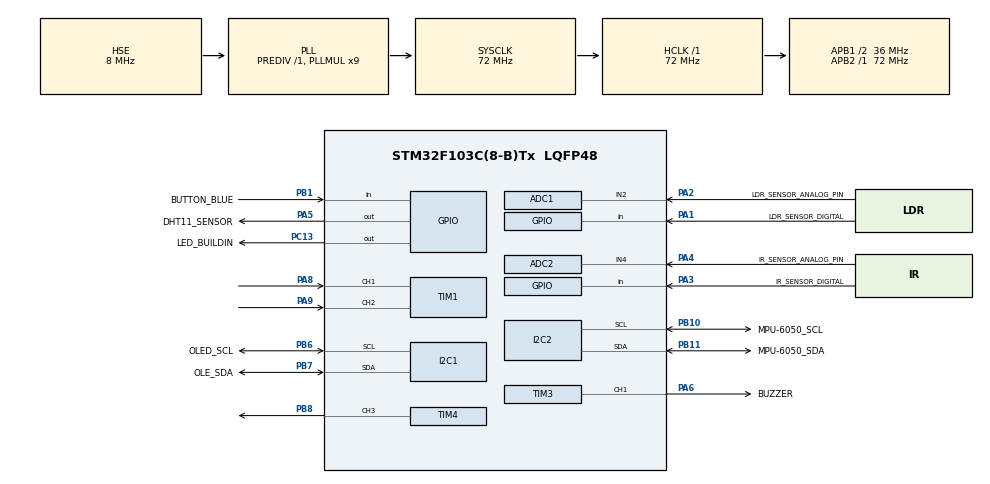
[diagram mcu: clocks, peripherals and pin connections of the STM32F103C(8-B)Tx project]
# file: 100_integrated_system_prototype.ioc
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ADC1.Channel-5\#ChannelRegularConversion=ADC_CHANNEL_2
ADC1.NbrOfConversionFlag=1
ADC1.Rank-5\#ChannelRegularConversion=1
ADC1.SamplingTime-5\#ChannelRegularConversion=ADC_SAMPLETIME_1CYCLE_5
ADC1.master=1
ADC2.Channel-0\#ChannelRegularConversion=ADC_CHANNEL_4
ADC2.NbrOfConversionFlag=1
ADC2.Rank-0\#ChannelRegularConversion=1
ADC2.SamplingTime-0\#ChannelRegularConversion=ADC_SAMPLETIME_1CYCLE_5
FREERTOS.INCLUDE_vTaskDelayUntil=1
FREERTOS.Queues01=sensorQueue,32,uint32_t,0,Dynamic,NULL,NULL
FREERTOS.Tasks01=signalTask,0,128,StartSignalTask,Default,NULL,Dynamic,NULL,NULL;displayTask,0,256,StartDisplayTask,Default,NULL,Dynamic,NULL,NULL;hardwareTask,0,128,StartHardwareTask,Default,NULL,Dynamic,NULL,NULL
FREERTOS.configMAX_PRIORITIES=16
FREERTOS.configUSE_COUNTING_SEMAPHORES=0
FREERTOS.configUSE_MALLOC_FAILED_HOOK=1
I2C1.I2C_Mode=I2C_Fast
I2C1.NoStretchMode=I2C_NOSTRETCH_ENABLE
I2C2.I2C_Mode=I2C_Fast
Mcu.Family=STM32F1
Mcu.Name=STM32F103C(8-B)Tx
Mcu.Package=LQFP48
NVIC.PriorityGroup=NVIC_PRIORITYGROUP_4
NVIC.TIM2_IRQn=true\:15\:0\:false\:false\:true\:false\:true\:true\:true
NVIC.TimeBase=TIM2_IRQn
NVIC.TimeBaseIP=TIM2
PA1.GPIO_Label=LDR_SENSOR_DIGITAL
PA1.Signal=GPIO_Input
PA13.Mode=Serial_Wire
PA13.Signal=SYS_JTMS-SWDIO
PA14.Mode=Serial_Wire
PA14.Signal=SYS_JTCK-SWCLK
PA2.GPIO_Label=LDR_SENSOR_ANALOG_PIN
PA2.Signal=ADCx_IN2
PA3.GPIO_Label=IR_SENSOR_DIGITAL
PA3.Signal=GPIO_Input
PA4.GPIO_Label=IR_SENSOR_ANALOG_PIN
PA4.Signal=ADCx_IN4
PA5.GPIO_Label=DHT11_SENSOR
PA5.GPIO_PuPd=GPIO_PULLDOWN
PA5.Signal=GPIO_Output
PA6.GPIO_Label=BUZZER
PA6.Signal=S_TIM3_CH1
PA8.Signal=S_TIM1_CH1
PA9.Signal=S_TIM1_CH2
PB1.GPIO_Label=BUTTON_BLUE
PB1.GPIO_PuPd=GPIO_PULLUP
PB1.Signal=GPIO_Input
PB10.GPIO_Label=MPU-6050_SCL
PB10.Mode=I2C
PB10.Signal=I2C2_SCL
PB11.GPIO_Label=MPU-6050_SDA
PB11.Mode=I2C
PB11.Signal=I2C2_SDA
PB6.GPIO_Label=OLED_SCL
PB6.Mode=I2C
PB6.Signal=I2C1_SCL
PB7.GPIO_Label=OLE_SDA
PB7.Mode=I2C
PB7.Signal=I2C1_SDA
PB8.Signal=S_TIM4_CH3
PC13-TAMPER-RTC.GPIO_Label=LED_BUILDIN
PC13-TAMPER-RTC.GPIO_ModeDefaultOutputPP=GPIO_MODE_OUTPUT_PP
PC13-TAMPER-RTC.GPIO_PuPd=GPIO_NOPULL
PC13-TAMPER-RTC.PinState=GPIO_PIN_RESET
PC13-TAMPER-RTC.Signal=GPIO_Output
PD0-OSC_IN.Mode=HSE-External-Oscillator
PD0-OSC_IN.Signal=RCC_OSC_IN
PD1-OSC_OUT.Mode=HSE-External-Oscillator
PD1-OSC_OUT.Signal=RCC_OSC_OUT
ProjectManager.HeapSize=0x200
ProjectManager.StackSize=0x400
ProjectManager.TargetToolchain=CMake
RCC.ADCPresc=RCC_ADCPCLK2_DIV6
RCC.AHBFreq_Value=72000000
RCC.APB1CLKDivider=RCC_HCLK_DIV2
RCC.APB1Freq_Value=36000000
RCC.APB1TimFreq_Value=72000000
RCC.APB2Freq_Value=72000000
RCC.APB2TimFreq_Value=72000000
RCC.HCLKFreq_Value=72000000
RCC.PLLMUL=RCC_PLL_MUL9
RCC.PLLSourceVirtual=RCC_PLLSOURCE_HSE
RCC.SYSCLKFreq_VALUE=72000000
RCC.SYSCLKSource=RCC_SYSCLKSOURCE_PLLCLK
RCC.USBFreq_Value=72000000
SH.ADCx_IN2.0=ADC1_IN2,IN2
SH.ADCx_IN4.0=ADC2_IN4,IN4
SH.S_TIM1_CH1.0=TIM1_CH1,Encoder_Interface
SH.S_TIM1_CH2.0=TIM1_CH2,Encoder_Interface
SH.S_TIM3_CH1.0=TIM3_CH1,PWM Generation1 CH1
SH.S_TIM4_CH3.0=TIM4_CH3,PWM Generation3 CH3
TIM1.AutoReloadPreload=TIM_AUTORELOAD_PRELOAD_ENABLE
TIM1.EncoderMode=TIM_ENCODERMODE_TI12
TIM1.IC1Filter=10
TIM3.AutoReloadPreload=TIM_AUTORELOAD_PRELOAD_DISABLE
TIM3.Channel-PWM\ Generation1\ CH1=TIM_CHANNEL_1
TIM3.OCFastMode_PWM-PWM\ Generation1\ CH1=TIM_OCFAST_DISABLE
TIM3.OCPolarity_1=TIM_OCPOLARITY_LOW
TIM3.Period=1000
TIM3.Prescaler=0
TIM3.Pulse-PWM\ Generation1\ CH1=500
TIM4.Channel-PWM\ Generation3\ CH3=TIM_CHANNEL_3
TIM4.Period=19999
TIM4.Prescaler=71
VP_FREERTOS_VS_CMSIS_V1.Mode=CMSIS_V1
VP_SYS_VS_tim2.Mode=TIM2
VP_TIM3_VS_ClockSourceINT.Mode=Internal
VP_TIM4_VS_ClockSourceINT.Mode=Internal
board=custom

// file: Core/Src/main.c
/* USER CODE BEGIN Header */
/**
  ******************************************************************************
  * @file           : main.c
  * @brief          : Main program body
  ******************************************************************************
  * @attention
  *
  * Copyright (c) 2024 STMicroelectronics.
  * All rights reserved.
  *
  * This software is licensed under terms that can be found in the LICENSE file
  * in the root directory of this software component.
  * If no LICENSE file comes with this software, it is provided AS-IS.
  *
  ******************************************************************************
  */
/* USER CODE END Header */
#include "main.h"
#include "cmsis_os.h"
#include "adc.h"
#include "i2c.h"
#include "tim.h"
#include "gpio.h"

void SystemClock_Config(void);
void MX_FREERTOS_Init(void);

int main(void)
{

  /* MCU Configuration--------------------------------------------------------*/

  /* Reset of all peripherals, Initializes the Flash interface and the Systick. */
  HAL_Init();

  /* Configure the system clock */
  SystemClock_Config();

  /* Initialize all configured peripherals */
  MX_GPIO_Init();
  MX_ADC1_Init();
  MX_I2C1_Init();
  MX_TIM1_Init();
  MX_TIM4_Init();
  MX_TIM3_Init();
  MX_ADC2_Init();
  MX_I2C2_Init();
  /* USER CODE BEGIN 2 */
  HAL_TIM_Encoder_Start(&htim1, TIM_CHANNEL_ALL);
  HAL_TIM_PWM_Start(&htim3, TIM_CHANNEL_1);
  HAL_TIM_PWM_Start(&htim4, TIM_CHANNEL_4);
  HAL_TIM_PWM_Start(&htim4, TIM_CHANNEL_3);

  // HAL_TIM_Base_Start(&htim4);
  /* USER CODE END 2 */

  /* Call init function for freertos objects (in cmsis_os2.c) */
  MX_FREERTOS_Init();

  /* Start scheduler */
  osKernelStart();

  /* We should never get here as control is now taken by the scheduler */

  /* Infinite loop */
  while (1)
  {

  }
}

void SystemClock_Config(void)
{
  RCC_OscInitTypeDef RCC_OscInitStruct = {0};
  RCC_ClkInitTypeDef RCC_ClkInitStruct = {0};
  RCC_PeriphCLKInitTypeDef PeriphClkInit = {0};

  /** Initializes the RCC Oscillators according to the specified parameters
  * in the RCC_OscInitTypeDef structure.
  */
  RCC_OscInitStruct.OscillatorType = RCC_OSCILLATORTYPE_HSE;
  RCC_OscInitStruct.HSEState = RCC_HSE_ON;
  RCC_OscInitStruct.HSEPredivValue = RCC_HSE_PREDIV_DIV1;
  RCC_OscInitStruct.HSIState = RCC_HSI_ON;
  RCC_OscInitStruct.PLL.PLLState = RCC_PLL_ON;
  RCC_OscInitStruct.PLL.PLLSource = RCC_PLLSOURCE_HSE;
  RCC_OscInitStruct.PLL.PLLMUL = RCC_PLL_MUL9;
  if (HAL_RCC_OscConfig(&RCC_OscInitStruct) != HAL_OK)
  {
    Error_Handler();
  }

  /** Initializes the CPU, AHB and APB buses clocks
  */
  RCC_ClkInitStruct.ClockType = RCC_CLOCKTYPE_HCLK|RCC_CLOCKTYPE_SYSCLK
                              |RCC_CLOCKTYPE_PCLK1|RCC_CLOCKTYPE_PCLK2;
  RCC_ClkInitStruct.SYSCLKSource = RCC_SYSCLKSOURCE_PLLCLK;
  RCC_ClkInitStruct.AHBCLKDivider = RCC_SYSCLK_DIV1;
  RCC_ClkInitStruct.APB1CLKDivider = RCC_HCLK_DIV2;
  RCC_ClkInitStruct.APB2CLKDivider = RCC_HCLK_DIV1;

  if (HAL_RCC_ClockConfig(&RCC_ClkInitStruct, FLASH_LATENCY_2) != HAL_OK)
  {
    Error_Handler();
  }
  PeriphClkInit.PeriphClockSelection = RCC_PERIPHCLK_ADC;
  PeriphClkInit.AdcClockSelection = RCC_ADCPCLK2_DIV6;
  if (HAL_RCCEx_PeriphCLKConfig(&PeriphClkInit) != HAL_OK)
  {
    Error_Handler();
  }
}

void HAL_TIM_PeriodElapsedCallback(TIM_HandleTypeDef *htim)
{
  if (htim->Instance == TIM2) {
    HAL_IncTick();
  }
}

void Error_Handler(void)
{
  __disable_irq();
  while (1)
  {
  }
}

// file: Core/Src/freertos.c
/* USER CODE BEGIN Header */
/**
  ******************************************************************************
  * File Name          : freertos.c
  * Description        : Code for freertos applications
  ******************************************************************************
  * @attention
  *
  * Copyright (c) 2024 STMicroelectronics.
  * All rights reserved.
  *
  * This software is licensed under terms that can be found in the LICENSE file
  * in the root directory of this software component.
  * If no LICENSE file comes with this software, it is provided AS-IS.
  *
  ******************************************************************************
  */
/* USER CODE END Header */

#include "FreeRTOS.h"
#include "task.h"
#include "main.h"
#include "cmsis_os.h"

/* USER CODE BEGIN Includes */
#include "ssd1306.h"
#include "fonts.h"
#include "stdio.h"
#include "tim.h"
#include "sensor_types.h"
#include "mpu6050.h"
/* USER CODE END Includes */

/* USER CODE BEGIN PD */
#define TIM_FREQ 72000000
/* USER CODE END PD */

/* USER CODE BEGIN Variables */

// Structure to hold sensor data

// Original variables
int previous;
float tCelsius;
float tFahrenheit;
float RH;
uint8_t TFI;
uint8_t TFD;
uint32_t pMillis, cMillis;
char snum[32];
char strCopy[15];

/* USER CODE END Variables */
osThreadId signalTaskHandle;
osThreadId displayTaskHandle;
osThreadId hardwareTaskHandle;
osMessageQId sensorQueueHandle;

/* USER CODE BEGIN FunctionPrototypes */

uint8_t DHT11_Start (void);
uint8_t DHT11_Read (void);
void microDelay (uint16_t delay);

/* USER CODE END FunctionPrototypes */

void StartSignalTask(void const * argument);
void StartDisplayTask(void const * argument);
void StartHardwareTask(void const * argument);

void MX_FREERTOS_Init(void); /* (MISRA C 2004 rule 8.1) */

/* GetIdleTaskMemory prototype (linked to static allocation support) */
void vApplicationGetIdleTaskMemory( StaticTask_t **ppxIdleTaskTCBBuffer, StackType_t **ppxIdleTaskStackBuffer, uint32_t *pulIdleTaskStackSize );

/* Hook prototypes */
void vApplicationMallocFailedHook(void);

/* USER CODE BEGIN 5 */
__weak void vApplicationMallocFailedHook(void)
{
   /* vApplicationMallocFailedHook() will only be called if
   configUSE_MALLOC_FAILED_HOOK is set to 1 in FreeRTOSConfig.h. It is a hook
   function that will get called if a call to pvPortMalloc() fails.
   pvPortMalloc() is called internally by the kernel whenever a task, queue,
   timer or semaphore is created. It is also called by various parts of the
   demo application. If heap_1.c or heap_2.c are used, then the size of the
   heap available to pvPortMalloc() is defined by configTOTAL_HEAP_SIZE in
   FreeRTOSConfig.h, and the xPortGetFreeHeapSize() API function can be used
   to query the size of free heap space that remains (although it does not
   provide information on how the remaining heap might be fragmented). */
}
/* USER CODE END 5 */

/* USER CODE BEGIN GET_IDLE_TASK_MEMORY */
static StaticTask_t xIdleTaskTCBBuffer;
static StackType_t xIdleStack[configMINIMAL_STACK_SIZE];

void vApplicationGetIdleTaskMemory( StaticTask_t **ppxIdleTaskTCBBuffer, StackType_t **ppxIdleTaskStackBuffer, uint32_t *pulIdleTaskStackSize )
{
  *ppxIdleTaskTCBBuffer = &xIdleTaskTCBBuffer;
  *ppxIdleTaskStackBuffer = &xIdleStack[0];
  *pulIdleTaskStackSize = configMINIMAL_STACK_SIZE;
  /* place for user code */
}
/* USER CODE END GET_IDLE_TASK_MEMORY */

void MX_FREERTOS_Init(void) {

  /* Create the queue(s) */
  /* definition and creation of sensorQueue */
  osMessageQDef(sensorQueue, 32, uint32_t);
  sensorQueueHandle = osMessageCreate(osMessageQ(sensorQueue), NULL);

  /* Create the thread(s) */
  /* definition and creation of signalTask */
  osThreadDef(signalTask, StartSignalTask, osPriorityNormal, 0, 128);
  signalTaskHandle = osThreadCreate(osThread(signalTask), NULL);

  /* definition and creation of displayTask */
  osThreadDef(displayTask, StartDisplayTask, osPriorityNormal, 0, 256);
  displayTaskHandle = osThreadCreate(osThread(displayTask), NULL);

  /* definition and creation of hardwareTask */
  osThreadDef(hardwareTask, StartHardwareTask, osPriorityNormal, 0, 128);
  hardwareTaskHandle = osThreadCreate(osThread(hardwareTask), NULL);

}

void StartSignalTask(void const * argument)
{
  /* USER CODE BEGIN StartSignalTask */
    static uint16_t hadc1_values[1];
    static uint16_t hadc2_values[1];
    static int16_t enc_previous_count = 0;
    static int16_t enc_current_count = 0;
    static int16_t button_previous = 0;
    static int16_t button_current = 0;

    // Static allocation to ensure data remains valid
    static Enc_SensorData_t EncSensorData = {0};
    static LDR_Sensor_Data_t LDRSensorData = {0};
    static IR_Sensor_Data_t IRSsensorData = {0};
    static DHT11_Sensor_Data_t DHT11SensorData = {0};
    static Buzzer_Data_t buzzerSignalData = {0};
    static Servo_Data_t servoPWMSignalData = {0};
    static MPU6050_t MPU6050 = {0};

    static Queue_Message_t encMsg = {0};
    static Queue_Message_t ldrMsg = {0};
    static Queue_Message_t irMsg = {0};
    static Queue_Message_t dht11Msg = {0};
    static Queue_Message_t buzzerMsg = {0};
    static Queue_Message_t servoMsg = {0};
    static Queue_Message_t mpu6050Msg = {0};

    static Combined_Sensor_Data_t combinedData = {0};

    // Initialize message structures once
    encMsg.type = MSG_TYPE_ENC;
    encMsg.data = &EncSensorData;

    ldrMsg.type = MSG_TYPE_IR;
    ldrMsg.data = &LDRSensorData;

    irMsg.type = MSG_TYPE_LDR;
    irMsg.data = &IRSsensorData;

    dht11Msg.type = MSG_TYPE_DHT11;
    dht11Msg.data = &DHT11SensorData;

    buzzerMsg.type = MSG_TYPE_BUZZER;
    buzzerMsg.data = &buzzerSignalData;

    servoMsg.type = MSG_TYPE_SERVO;
    servoMsg.data = &servoPWMSignalData;

    mpu6050Msg.type = MSG_TYPE_MPU6050;
    mpu6050Msg.data = &MPU6050;

    // Initialize buzzer states based on the timer settings
    buzzerSignalData.frequency = 7500;
    buzzerSignalData.volume =  100 * htim3.Instance->CCR1 / htim3.Instance->ARR;

    // Initialize servo states to 90 degree
    servoPWMSignalData.angle =  90;

    // Declare pointers to ADC readings
    static uint16_t* ADC1_IN2;
    static uint16_t* ADC1_IN4;

    // Assign pointers address
    ADC1_IN2 = &LDRSensorData.analog_value;
    ADC1_IN4 = &IRSsensorData.analog_value;

    // Wait MPU6050 to finish initialization
    while (MPU6050_Init(&hi2c2) == 1);

  /* Infinite loop */
  for(;;)
  {
    // Read sensor analog values (Alternative)
    // LDRSensorData.analog_value = Sensor_ReadAnalog (&hadc1);
    // IRSsensorData.analog_value = Sensor_ReadAnalog (&hadc2);

    // Read sensor analog values (Whole HADC)
    if(Read_ADC_AllChannels(&hadc1, hadc1_values, 1))
      {
        // LDRSensorData.analog_value = hadc1_values[0];
        *ADC1_IN2 = hadc1_values[0];
      }

    if(Read_ADC_AllChannels(&hadc2, hadc2_values, 1))
      {
        // IRSsensorData.analog_value = hadc2_values[0];
        *ADC1_IN4 = hadc2_values[0];
      }

    // Read sensor digital values
    LDRSensorData.digital_value = HAL_GPIO_ReadPin(LDR_SENSOR_DIGITAL_GPIO_Port, LDR_SENSOR_DIGITAL_Pin);
    IRSsensorData.digital_value = HAL_GPIO_ReadPin(IR_SENSOR_DIGITAL_GPIO_Port, IR_SENSOR_DIGITAL_Pin);

    // Read MPU6050 values
    MPU6050_Read_All(&hi2c2, &MPU6050);
    vTaskDelay (10);

    // Encoder
    // Check encoder selected function (changing slides or configure hardware parameter)
    button_current = HAL_GPIO_ReadPin(BUTTON_BLUE_GPIO_Port, BUTTON_BLUE_Pin);
    if (button_previous != button_current && button_current != 1) EncSensorData.directory[1] += 1;
    button_previous = button_current;

    // Read and process encoder value
    EncSensorData.enc_difference = TIM1->CNT - enc_previous_count;
    enc_previous_count = TIM1->CNT;
    if (EncSensorData.enc_difference > 32767)EncSensorData.enc_difference -= 65533;
    else if (EncSensorData.enc_difference < -32767) EncSensorData.enc_difference += 65533;

    if (EncSensorData.directory[1]%3 &&
        ((enc_current_count >= 0 && enc_current_count/4 % 6 >= 4) ||
        (enc_current_count < 0 && enc_current_count/4 % 6 >= -2)))
    {
      switch (enc_current_count / 4 % 6)
      {
        // Buzzer parameters
        case 4: case -2:
        switch (EncSensorData.directory[1])
        {
          case 1:
          buzzerSignalData.volume += EncSensorData.enc_difference;
          if (buzzerSignalData.volume > 100) buzzerSignalData.volume = 100;
          if (buzzerSignalData.volume < 0) buzzerSignalData.volume = 0;
          break;

          case 2:
          buzzerSignalData.frequency += EncSensorData.enc_difference*100;
          if (buzzerSignalData.frequency > 20000) buzzerSignalData.frequency  = 20000;
          if (buzzerSignalData.frequency < 0) buzzerSignalData.frequency = 0;
          break;
        }
        break;

        // Servo motor parameters
        case 5: case -1:
        switch (EncSensorData.directory[1])
        {
          case 1:
          servoPWMSignalData.angle -= EncSensorData.enc_difference;
          if (servoPWMSignalData.angle > 180) servoPWMSignalData.angle  = 180;
          if (servoPWMSignalData.angle < 0) servoPWMSignalData.angle = 0;
          break;
          case 2:
          EncSensorData.directory[1] += 1;
          break;
        }
        break;
      }
    }
    else
    {
      enc_current_count += EncSensorData.enc_difference;
      EncSensorData.directory[0] = enc_current_count/4;
      EncSensorData.directory[1] = 0;
    }
    // Read DHT11 sensor values
    // if(DHT11_Start())
    // {
    //   DHT11SensorData.RHI = DHT11_Read(); // Relative humidity integral
    //   DHT11SensorData.RHD = DHT11_Read(); // Relative humidity decimal
    //   DHT11SensorData.TCI = DHT11_Read(); // Celsius integral
    //   DHT11SensorData.TCD = DHT11_Read(); // Celsius decimal
    //   DHT11SensorData.SUM = DHT11_Read(); // Check sum
    // }
    // else
    // {
    //   SSD1306_Clear();
    //   SSD1306_GotoXY(0,0);
    //   SSD1306_Puts("FAILED", &Font_11x18, 1);
    //   SSD1306_UpdateScreen();
    // }

    // Setup and send signals message
    combinedData.encData = EncSensorData;
    combinedData.ldrData = LDRSensorData;
    combinedData.irData = IRSsensorData;
    combinedData.dht11Data = DHT11SensorData;
    combinedData.buzzerData = buzzerSignalData;
    combinedData.servoData = servoPWMSignalData;
    combinedData.mpuData = MPU6050;
    osMessagePut(sensorQueueHandle, (uint32_t)&combinedData, 0);

    osDelay(1);

    // Alternate: Control the os time
    // osDelayUntil(&PreviousWakeTime, period);
  }
  /* USER CODE END StartSignalTask */
}

void StartDisplayTask(void const * argument)
{
  /* USER CODE BEGIN StartDisplayTask */

  // Initialize sensor msg type object
  static Queue_Message_t* receivedMsg;

  // Initialize sensor data object
  static Enc_SensorData_t receivedEncData = {0};
  static IR_Sensor_Data_t receivedIRData = {0};
  static LDR_Sensor_Data_t receivedLDR1Data = {0};
  static DHT11_Sensor_Data_t receivedDHT11Data = {0};
  static Buzzer_Data_t receivedBuzzerData = {0};
  static Servo_Data_t receivedServoData = {0};
  static MPU6050_t receivedMPU6050Data = {0};

  static Combined_Sensor_Data_t* receivedData;

  previous = 0;
  SSD1306_Init();
  SSD1306_GotoXY (0,0);
  SSD1306_Puts ("Hello,", &Font_11x18, 1);
  SSD1306_GotoXY (0, 30);
  SSD1306_Puts ("World!", &Font_11x18, 1);
  SSD1306_UpdateScreen();
  HAL_Delay (500);

  SSD1306_ScrollRight(0,7);
  HAL_Delay(500);
  SSD1306_ScrollLeft(0,7);
  HAL_Delay(500);
  SSD1306_Stopscroll();
  SSD1306_Clear();

  /* Infinite loop */
  for(;;)
  {
    // Check if received any message
    osEvent event = osMessageGet(sensorQueueHandle, 100);
    if (!event.status == osEventMessage) continue;

    // Unpack the messages to local and extreact encoder data
    Combined_Sensor_Data_t* receivedData = (Combined_Sensor_Data_t*)event.value.p;
    receivedEncData = receivedData->encData;

    // Compare the encoder value with the previous
    if ((receivedEncData.directory[0] % 6) != previous)
    {
      SSD1306_Clear();
      previous = receivedEncData.directory[0] % 6;
    }

    // Display the current page info
    switch (receivedEncData.directory[0] % 6) {

      case 0:
      // Unpack MPU6050 data (for the hardware temperature only)
      receivedMPU6050Data = receivedData->mpuData;

      // Get current tick count and convert to time units
      uint32_t currentTicks = osKernelSysTick();
      uint32_t seconds = (currentTicks / 1000) % 60;  // Seconds from milliseconds
      uint32_t minutes = (currentTicks / 60000) % 60; // Minutes from milliseconds
      uint32_t hours = (currentTicks / 3600000) % 24; // Hours from milliseconds

      // Format and display the time in HH:MM:SS
      SSD1306_DrawFilledRectangle (4, 6, 116 , 26, 1);
      sprintf(snum, " %02lu:%02lu:%02lu ", hours, minutes, seconds);
      SSD1306_GotoXY(4, 12);
      SSD1306_Puts(snum, &Font_11x18, 0);

      // Hardware Temperature
      sprintf(snum, "Hw Temp: %2d.%02dC", (int16_t)receivedMPU6050Data.Temperature, (int16_t)(receivedMPU6050Data.Temperature*100)%100);
      SSD1306_GotoXY(0, 41);
      SSD1306_Puts(snum, &Font_7x10, 1);

      // Display uptime in total seconds
      sprintf(snum, "Uptime:  %lus", currentTicks / 1000);
      SSD1306_GotoXY(0, 52);
      SSD1306_Puts(snum, &Font_7x10, 1);
      break;

      case 1: case -5:
      // Unpack IR sensor data
      receivedIRData = receivedData->irData;

      // Display IR sensor data
      SSD1306_GotoXY(0,0);
      SSD1306_Puts("IR Sensor", &Font_11x18, 1);
      sprintf(snum, "Analog   :%4d", receivedIRData.analog_value);
      SSD1306_GotoXY(0, 30);
      SSD1306_Puts(snum, &Font_7x10, 1);
      sprintf(snum, "Digital : %d", receivedIRData.digital_value);
      SSD1306_GotoXY(0, 45);
      SSD1306_Puts(snum, &Font_7x10, 1);
      break;

      case 2: case -4:
      // Unpack LDR sensor data
      receivedLDR1Data = receivedData->ldrData;

      // Display LDR sensor data
      SSD1306_GotoXY(0,0);
      SSD1306_Puts("LDR Sensor", &Font_11x18, 1);
      sprintf(snum, "Analog   :%4d", receivedLDR1Data.analog_value);
      SSD1306_GotoXY(0, 30);
      SSD1306_Puts(snum, &Font_7x10, 1);
      sprintf(snum, "Digital : %d", receivedLDR1Data.digital_value);
      SSD1306_GotoXY(0, 45);
      SSD1306_Puts(snum, &Font_7x10, 1);
      break;

      case 3: case -3:
      // Unpack MPU6050 data
      receivedMPU6050Data = receivedData->mpuData;

      // Display MPU6050 data
      SSD1306_GotoXY(0,0);
      SSD1306_Puts("MPU-6050", &Font_11x18, 1);

      // Display Header with partition
      SSD1306_GotoXY(0, 20);
      SSD1306_Puts("Acce:", &Font_7x10, 1);
      SSD1306_GotoXY(70, 20);  // Adjusted x position for "Gyro:"
      SSD1306_Puts("RPY:", &Font_7x10, 1);

      // Draw vertical line partition
      SSD1306_DrawLine(64, 20, 64, 63, SSD1306_COLOR_WHITE);

      // Accelerometer X
      sprintf(snum, "X:%1d.%03d", (int16_t)(receivedMPU6050Data.Ax),
              abs((int16_t)(receivedMPU6050Data.Ax * 100) % 1000));
      SSD1306_GotoXY(0, 31);
      SSD1306_Puts(snum, &Font_7x10, 1);

      // Accelerometer Y
      sprintf(snum, "Y:%1d.%03d", (int16_t)(receivedMPU6050Data.Ay),
              abs((int16_t)(receivedMPU6050Data.Ay * 100) % 1000));
      SSD1306_GotoXY(0, 42);
      SSD1306_Puts(snum, &Font_7x10, 1);

      // Accelerometer Z
      sprintf(snum, "Z:%1d.%03d", (int16_t)(receivedMPU6050Data.Az),
              abs((int16_t)(receivedMPU6050Data.Az * 100) % 1000));
      SSD1306_GotoXY(0, 53);
      SSD1306_Puts(snum, &Font_7x10, 1);

      // Gyro roll
      sprintf(snum, "R:%2d.%02d", (int16_t)receivedMPU6050Data.KalmanAngleX,
              abs((int16_t)(receivedMPU6050Data.KalmanAngleX * 100)%100));
      SSD1306_GotoXY(70, 31);
      SSD1306_Puts(snum, &Font_7x10, 1);

      // Gyro pitch
      sprintf(snum, "P:%2d.%02d", (int16_t)receivedMPU6050Data.KalmanAngleY,
              abs((int16_t)(receivedMPU6050Data.KalmanAngleY * 100)%100));
      SSD1306_GotoXY(70, 42);
      SSD1306_Puts(snum, &Font_7x10, 1);

      // Gyro yaw
      sprintf(snum, "Y:%2d.%02d", (int16_t)receivedMPU6050Data.yaw,
              abs((int16_t)(receivedMPU6050Data.yaw * 100)%100));
      SSD1306_GotoXY(70, 53);
      SSD1306_Puts(snum, &Font_7x10, 1);
      break;

      case 4: case -2:
      // Unpack buzzer data
      receivedBuzzerData = receivedData->buzzerData;

      // Display buzzer data
      SSD1306_GotoXY(0,0);
      SSD1306_Puts("Buzzer", &Font_11x18, 1);
      sprintf(snum, "vol  :    %3d %%", receivedBuzzerData.volume);
      SSD1306_GotoXY(0, 30);
      SSD1306_Puts(snum, &Font_7x10, 1);
      sprintf(snum, "freq :  %4d hz", receivedBuzzerData.frequency);
      SSD1306_GotoXY(0, 45);
      SSD1306_Puts(snum, &Font_7x10, 1);
      break;

      case 5: case -1:
      // Unpack servo motor data
      receivedServoData = receivedData->servoData;

      // Display servo motor data
      SSD1306_GotoXY(0,0);
      SSD1306_Puts("Servo Motor", &Font_11x18, 1);
      sprintf(snum, "Angle  :    %2d deg", receivedServoData.angle);
      SSD1306_GotoXY(0, 30);
      SSD1306_Puts(snum, &Font_7x10, 1);
      break;

      case 6:
      // Unpack the DHT11 sensor data (Not being displayed for now)
      receivedDHT11Data = receivedData->dht11Data;

      // Display servo motor data
      if (receivedDHT11Data.RHI + receivedDHT11Data.RHD + receivedDHT11Data.TCI + receivedDHT11Data.TCD == receivedDHT11Data.SUM)
      {
        // Can use RHI and TCI for any purposes if whole number only needed
        tCelsius = (float)receivedDHT11Data.TCI + (float)(receivedDHT11Data.TCD/10.0);
        tFahrenheit = tCelsius * 9/5 + 32;
        RH = (float)receivedDHT11Data.RHI + (float)(receivedDHT11Data.RHD/10.0);
        // Can use tCelsius, tFahrenheit and RH for any purposes
        TFI = tFahrenheit; // Fahrenheit integral
        TFD = tFahrenheit*10-TFI*10; // Fahrenheit decimal
        // Display Temperature data
        SSD1306_GotoXY(0,0);
        SSD1306_Puts("Weather", &Font_11x18, 1);
        sprintf(snum, "Pin state :%d", HAL_GPIO_ReadPin (DHT11_SENSOR_GPIO_Port, DHT11_SENSOR_Pin));
        SSD1306_GotoXY(0, 30);
        SSD1306_Puts(snum, &Font_7x10, 1);
        sprintf(snum, "Pin type : %d", (DHT11_SENSOR_GPIO_Port->CRL >> (4 * (__builtin_ctz(DHT11_SENSOR_Pin) % 8))) & 0x3);
        SSD1306_GotoXY(0, 45);
        SSD1306_Puts(snum, &Font_7x10, 1);
        // sprintf(strCopy,"%d.%d C ", receivedDHT11Data.TCI, receivedDHT11Data.TCD);
        // SSD1306_GotoXY (0, 30);
        // SSD1306_Puts (strCopy, &Font_7x10, 1);
        // sprintf(strCopy,"%d.%d F ", TFI, TFD);
        // SSD1306_GotoXY (0, 40);
        // SSD1306_Puts (strCopy, &Font_7x10, 1);
        // sprintf(strCopy,"%d.%d %% ", receivedDHT11Data.RHI, receivedDHT11Data.RHD);
        // SSD1306_GotoXY (0, 50);
        // SSD1306_Puts (strCopy, &Font_7x10, 1);
      }
      else
      {

      }
      break;

      default:
      SSD1306_Clear();
      SSD1306_GotoXY(0,0);
      SSD1306_Puts("ERROR", &Font_11x18, 1);
      SSD1306_UpdateScreen();
      break;
    }

    SSD1306_UpdateScreen();
    osDelay(1);
  }
  /* USER CODE END StartDisplayTask */
}

void StartHardwareTask(void const * argument)
{
  /* USER CODE BEGIN StartHardwareTask */

  // Initialize sensor msg type object
  static Queue_Message_t* receivedMsg;

  // Initialize sensor data object
  static Enc_SensorData_t receivedEncData = {0};
  static IR_Sensor_Data_t receivedIRData = {0};
  static LDR_Sensor_Data_t receivedLDR1Data = {0};
  // static DHT11_Sensor_Data_t receivedDHT11Data = {0};
  static Buzzer_Data_t receivedBuzzerData = {0};
  static Servo_Data_t receivedServoData = {0};

  static Combined_Sensor_Data_t* receivedData;

  static uint32_t buzzerToggleTime = 0;
  static uint8_t buzzerState = 0;

  /* Infinite loop */
  for(;;)
  {
    osEvent event = osMessageGet(sensorQueueHandle, 100);
    if (!event.status == osEventMessage) continue;

    // Unpack the messages to local
    Combined_Sensor_Data_t* receivedData = (Combined_Sensor_Data_t*)event.value.p;

    // Pointers for signal data
    receivedIRData = receivedData->irData;
    receivedLDR1Data = receivedData->ldrData;
    receivedBuzzerData = receivedData->buzzerData;
    receivedServoData = receivedData->servoData;

    HAL_GPIO_WritePin (LED_BUILDIN_GPIO_Port, LED_BUILDIN_Pin, !receivedLDR1Data.digital_value);
    __HAL_TIM_SET_COMPARE(&htim4, TIM_CHANNEL_3, 500 + ((float)receivedServoData.angle/180 * 2000) );

    if (receivedIRData.digital_value)
    {
      __HAL_TIM_SET_COMPARE(&htim3, TIM_CHANNEL_1, 0);
      continue;
    }

    if (receivedIRData.analog_value <= 200) setBuzzer(&htim3,TIM_CHANNEL_1, &receivedBuzzerData);
    else
    {
      setBuzzer(&htim3,TIM_CHANNEL_1,&receivedBuzzerData);
      vTaskDelay(pow(sqrt(receivedIRData.analog_value), 1.4));
      __HAL_TIM_SET_COMPARE(&htim3, TIM_CHANNEL_1, 0);
      vTaskDelay(pow(sqrt(receivedIRData.analog_value), 1.4));
    }
    osDelay(1);
  }
  /* USER CODE END StartHardwareTask */
}

/* USER CODE BEGIN Application */

void setBuzzer(TIM_HandleTypeDef *htim, uint32_t channel, Buzzer_Data_t *Buzzer)
{

  // If frequency is 0 or volume is 0, turn off the buzzer
  if (Buzzer->frequency == 0 || Buzzer->volume == 0) {
      __HAL_TIM_SET_COMPARE(htim, channel, 0); // Set duty 100% (OFF for active LOW)
      return;
  }

  // Set the ARR value for frequency control
  __HAL_TIM_SET_PRESCALER(htim, TIM_FREQ/(htim->Instance->ARR * Buzzer->frequency));

  // Calculate CCR value for volume control (inverted for active LOW)
  // Volume is 0-100%, so we calculate the duty cycle as a percentage of ARR
  uint32_t ccr = Buzzer->volume * htim->Instance->ARR / 100;

  // Set the CCR value for the specified channel
  __HAL_TIM_SET_COMPARE(htim, channel, ccr);

}

void microDelay (uint16_t delay)
{
  __HAL_TIM_SET_COUNTER(&htim4, 0);
  while (__HAL_TIM_GET_COUNTER(&htim4) < delay);

}

uint8_t DHT11_Start(void)
{

  uint8_t Response = 0;
  GPIO_InitTypeDef GPIO_InitStructPrivate = {0};
  GPIO_InitStructPrivate.Pin = DHT11_SENSOR_Pin;
  GPIO_InitStructPrivate.Mode = GPIO_MODE_OUTPUT_PP;
  GPIO_InitStructPrivate.Speed = GPIO_SPEED_FREQ_LOW;
  GPIO_InitStructPrivate.Pull = GPIO_NOPULL;
  HAL_GPIO_Init(DHT11_SENSOR_GPIO_Port, &GPIO_InitStructPrivate); // set the pin as output
  HAL_GPIO_WritePin (DHT11_SENSOR_GPIO_Port, DHT11_SENSOR_Pin, 0);   // pull the pin low
  HAL_Delay(20);   // wait for 20ms
  HAL_GPIO_WritePin (DHT11_SENSOR_GPIO_Port, DHT11_SENSOR_Pin, 1);   // pull the pin high
  microDelay (30);   // wait for 30us
  GPIO_InitStructPrivate.Mode = GPIO_MODE_INPUT;
  GPIO_InitStructPrivate.Pull = GPIO_PULLUP;
  HAL_GPIO_Init(DHT11_SENSOR_GPIO_Port, &GPIO_InitStructPrivate); // set the pin as input
  microDelay (40);
  if (!(HAL_GPIO_ReadPin (DHT11_SENSOR_GPIO_Port, DHT11_SENSOR_Pin)))
  {
    microDelay (80);
    if ((HAL_GPIO_ReadPin (DHT11_SENSOR_GPIO_Port, DHT11_SENSOR_Pin))) Response = 1;
  }
  pMillis = HAL_GetTick();
  cMillis = HAL_GetTick();
  while ((HAL_GPIO_ReadPin (DHT11_SENSOR_GPIO_Port, DHT11_SENSOR_Pin)) && pMillis + 2 > cMillis)
  {
    cMillis = HAL_GetTick();
  }

  return Response;
}

uint8_t DHT11_Read (void)
{
  uint8_t a,b= 0;

  for (a=0;a<8;a++)
  {
    pMillis = HAL_GetTick();
    cMillis = HAL_GetTick();
    while (!(HAL_GPIO_ReadPin (DHT11_SENSOR_GPIO_Port, DHT11_SENSOR_Pin)) && pMillis + 2 > cMillis)
    {  // wait for the pin to go high
      cMillis = HAL_GetTick();
    }
    microDelay (40);   // wait for 40 us
    if (!(HAL_GPIO_ReadPin (DHT11_SENSOR_GPIO_Port, DHT11_SENSOR_Pin)))   // if the pin is low
      b&= ~(1<<(7-a));
    else
      b|= (1<<(7-a));
    pMillis = HAL_GetTick();
    cMillis = HAL_GetTick();
    while ((HAL_GPIO_ReadPin (DHT11_SENSOR_GPIO_Port, DHT11_SENSOR_Pin)) && pMillis + 2 > cMillis)
    {  // wait for the pin to go low
      cMillis = HAL_GetTick();
    }
  }
  return b;
}

/* USER CODE END Application */
